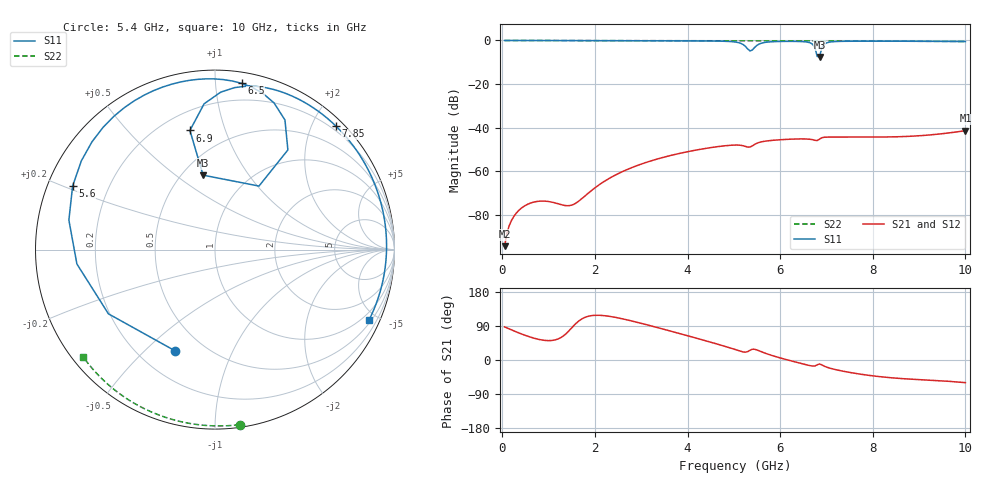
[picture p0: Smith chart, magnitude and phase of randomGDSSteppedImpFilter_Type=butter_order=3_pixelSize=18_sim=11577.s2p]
! freq	dB(S11)	phase(S11)	dB(S12)	phase(S12)
!  dB(S21)	phase(S21)	dB(S22)	phase(S22)
!S-par simulation data
#  GHz  S  DB  R 50
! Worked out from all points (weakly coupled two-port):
!   200 points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, 50 MHz to 10 GHz, reference 50 ohm
!   highest |S21| = -41.39 dB at 10 GHz (marker M1); lowest = -94.3 dB at 50 MHz (marker M2)
!   lowest |S11| = -7.5 dB at 6.85 GHz (marker M3), VSWR 2.45, Z = 31.5 + j31.7 ohm
!   |S11| at or under -10 dB: nowhere
!   |S22| runs from -0.5 to 0.0 dB; largest |S21 - S12| = 0
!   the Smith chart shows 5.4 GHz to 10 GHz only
!   S11 on the Smith chart (normalised r, x): 5.4 GHz: 0.35, -0.62; 5.6 GHz: 0.07, +0.21; 6.5 GHz: 0.08, +1.17; 6.9 GHz: 0.31, +0.76; 7.85 GHz: 0.13, +2.38; 10 GHz: 0.62, -4.48
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0.05  -0.00 -4.6  -94.32 87.3  -94.32 87.3  -0.00 -0.8
0.85  -0.08 -72.2  -73.64 52.9  -73.64 52.9  -0.02 -13.8
1.75  -0.12 -128.1  -71.94 110.5  -71.94 110.5  -0.04 -28.1
2.5  -0.13 -162.3  -61.09 111.1  -61.09 111.1  -0.05 -39.8
3.4  -0.15 163.3  -54.04 84.0  -54.04 84.0  -0.07 -53.4
4.45  -0.23 122.0  -49.30 48.8  -49.30 48.8  -0.10 -68.7
5.05  -0.78 75.4  -47.95 26.7  -47.95 26.7  -0.12 -77.2
5.25  -2.71 16.3  -48.57 20.7  -48.57 20.7  -0.13 -80.0
5.3  -3.91 -17.0  -48.88 22.2  -48.88 22.2  -0.13 -80.7
5.4  -4.35 -111.8  -48.34 28.4  -48.34 28.4  -0.13 -82.0
5.5  -2.23 -174.1  -47.10 26.4  -47.10 26.4  -0.14 -83.4
5.6  -1.22 156.0  -46.45 21.5  -46.45 21.5  -0.14 -84.8
5.9  -0.51 118.4  -45.68 9.0  -45.68 9.0  -0.15 -88.8
6.5  -0.55 80.9  -45.14 -10.6  -45.14 -10.6  -0.18 -96.8
6.7  -1.72 61.6  -45.50 -16.0  -45.50 -16.0  -0.19 -99.4
6.75  -3.25 53.8  -45.78 -15.8  -45.78 -15.8  -0.20 -100.0
6.85  -7.53 99.1  -45.22 -10.4  -45.22 -10.4  -0.20 -101.3
6.9  -3.37 101.9  -44.61 -12.9  -44.61 -12.9  -0.20 -102.0
7.1  -0.66 79.1  -44.29 -22.5  -44.29 -22.5  -0.22 -104.6
7.85  -0.33 45.5  -44.30 -39.4  -44.30 -39.4  -0.27 -114.1
8.35  -0.33 28.1  -44.24 -46.4  -44.24 -46.4  -0.31 -120.4
10  -0.51 -24.7  -41.39 -59.8  -41.39 -59.8  -0.47 -140.8
